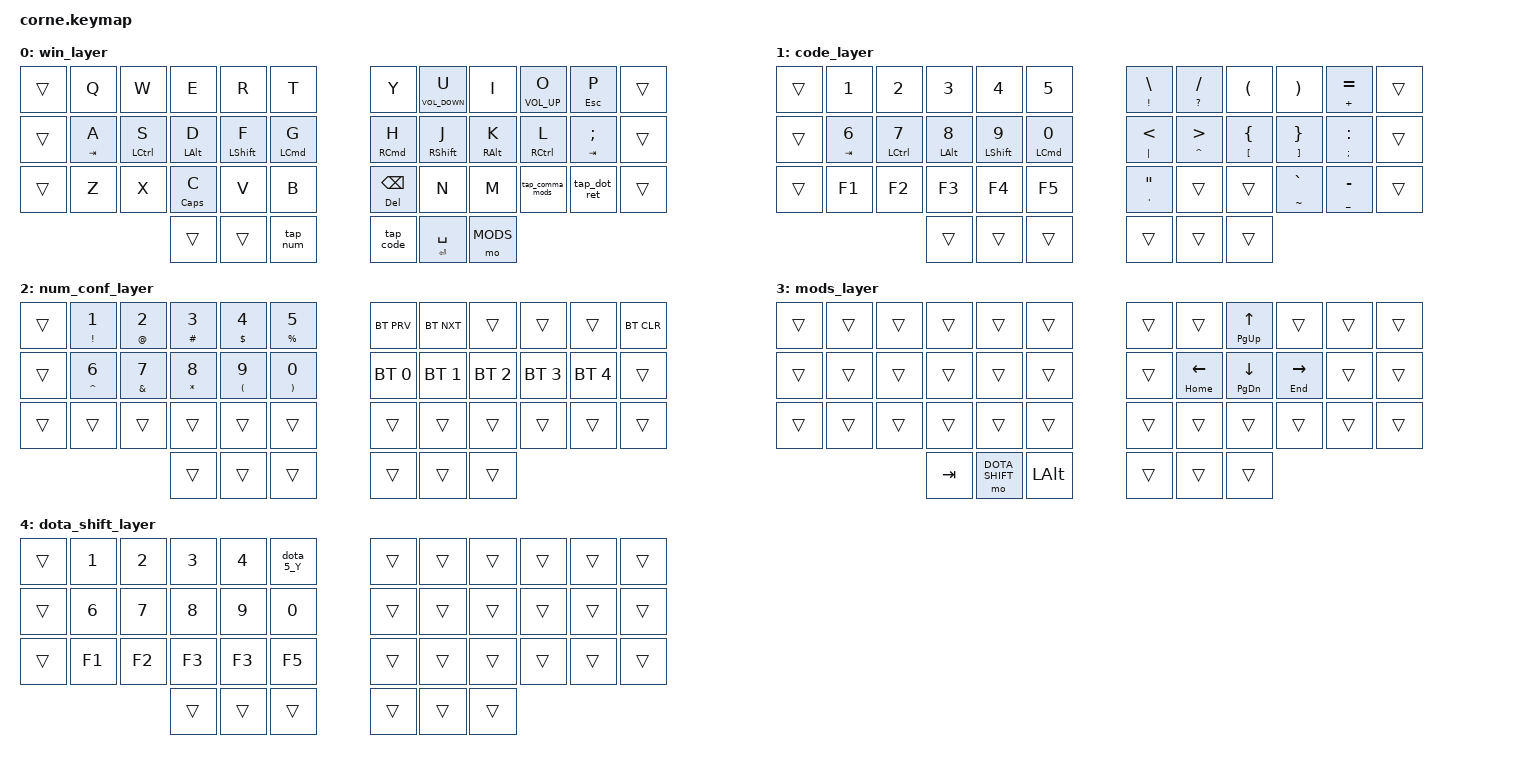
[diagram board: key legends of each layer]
/*
 * Copyright (c) 2020 The ZMK Contributors
 *
 * SPDX-License-Identifier: MIT
 */

#include <behaviors.dtsi>
#include <dt-bindings/zmk/keys.h>
#include <dt-bindings/zmk/bt.h>

#define DEFAULT        0
#define CODE           1
#define NUM_CONF       2
#define MODS           3
#define DOTA_SHIFT     4

/ {
        keymap {
                compatible = "zmk,keymap";

                win_layer {
                        bindings = <
                                   &trans   &kp Q             &kp W               &kp E                  &kp R                   &kp T                            &kp Y                    &rpi C_VOLUME_DOWN U          &kp I              &rpi C_VOLUME_UP O            &rpi ESCAPE P           &trans
                                   &trans   &rpi TAB A        &rpi LCTRL S        &rpi LALT D            &rpi_fast LSHIFT F      &rpi LCMD G                      &rpi RCMD H              &rpi_fast RSHIFT J            &rpi RALT K        &rpi RCTRL L                  &rpi_fast TAB SEMI      &trans
                                   &trans   &kp Z             &kp X               &rpi CAPSLOCK C        &kp V                   &kp B                            &del_rpi DEL BSPC        &kp N                         &kp M              &tap_comma_mods               &tap_dot_ret            &trans
                                                                                  &trans                 &trans                  &tap_num                         &tap_code                &rpi_fast RET SPACE           &mo MODS
                        >;
                };
                code_layer {
                        bindings = <
                                   &trans    &kp N1        &kp N2         &kp N3         &kp N4            &kp N5                         &rpi_fast EXCL BSLH      &rpi_fast QMARK SLASH    &kp LPAR               &kp RPAR                &rpi_fast PLUS EQUAL      &trans
                                   &trans    &rpi TAB N6   &rpi LCTRL N7  &rpi LALT N8   &rpi LSHIFT N9    &rpi LCMD N0                   &rpi_fast PIPE LT        &rpi_fast CARET GT       &rpi_fast LBKT LBRC    &rpi_fast RBKT RBRC     &rpi_fast SEMI COLON      &trans
                                   &trans    &kp F1        &kp F2         &kp F3         &kp F4            &kp F5                         &rpi_fast SQT DQT        &trans                   &trans                 &rpi_fast TILDE GRAVE   &rpi_fast UNDER MINUS     &trans
                                                                          &trans         &trans            &trans                         &trans                   &trans                   &trans
                        >;
                };

                num_conf_layer {
                        bindings = <
                                   &trans   &rpi_fast EXCL N1    &rpi_fast AT N2     &rpi_fast HASH N3      &rpi_fast DLLR N4     &rpi_fast PRCNT N5                              &bt BT_PRV      &bt BT_NXT      &trans           &trans            &trans            &bt BT_CLR
                                   &trans   &rpi_fast CARET N6   &rpi_fast AMPS N7   &rpi_fast ASTRK N8     &rpi_fast LPAR N9     &rpi_fast RPAR N0                               &bt BT_SEL 0    &bt BT_SEL 1    &bt BT_SEL 2     &bt BT_SEL 3      &bt BT_SEL 4      &trans 
                                   &trans   &trans               &trans              &trans                 &trans                &trans                                          &trans          &trans          &trans           &trans            &trans            &trans
                                                                                     &trans                 &trans                &trans                                          &trans          &trans          &trans
                        >;
                };

                mods_layer {
                        bindings = <
                                   &trans      &trans      &trans      &trans        &trans          &trans                               &trans       &trans                     &arrow_rpi PAGE_UP UP           &trans                     &trans            &trans
                                   &trans      &trans      &trans      &trans        &trans          &trans                               &trans       &arrow_rpi HOME LEFT       &arrow_rpi PAGE_DOWN DOWN       &arrow_rpi END RIGHT       &trans            &trans 
                                   &trans      &trans      &trans      &trans        &trans          &trans                               &trans       &trans                     &trans                          &trans                     &trans            &trans
                                                                       &kp TAB       &mo DOTA_SHIFT  &kp LALT                             &trans       &trans                     &trans
                        >;
                };

                dota_shift_layer {
                         bindings = <
                                   &trans    &kp N1       &kp N2       &kp N3       &kp N4       &dota_5_Y                           &trans     &trans    &trans    &trans   &trans     &trans
                                   &trans    &kp N6       &kp N7       &kp N8       &kp N9       &kp N0                              &trans     &trans    &trans    &trans   &trans     &trans
                                   &trans    &kp F1       &kp F2       &kp F3       &kp F3       &kp F5                              &trans     &trans    &trans    &trans   &trans     &trans
                                                                       &trans       &trans       &trans                              &trans     &trans    &trans
                                        >;
                                };
        };

        behaviors {
                rpi: rpi {
                    compatible = "zmk,behavior-hold-tap";
                    #binding-cells = <2>;
                    flavor = "tap-preferred";
                    tapping-term-ms = <350>;
                    quick-tap-ms = <350>;
                    require-prior-idle-ms = <200>;
                    bindings = <&kp>, <&kp>;
                };

                rpi_fast: rpi_fast {
                    compatible = "zmk,behavior-hold-tap";
                    #binding-cells = <2>;
                    flavor = "tap-preferred";
                    tapping-term-ms = <150>;
                    quick-tap-ms = <50>;
                    require-prior-idle-ms = <150>;
                    bindings = <&kp>, <&kp>;
                };

                rpi_mod_kp: rpi_mod_kp {
                    compatible = "zmk,behavior-hold-tap";
                    #binding-cells = <2>;
                    flavor = "tap-preferred";
                    tapping-term-ms = <150>;
                    quick-tap-ms = <50>;
                    require-prior-idle-ms = <120>;
                    bindings = <&tog>, <&kp>;
                };

                arrow_rpi: arrow_rpi_idle {
                    compatible = "zmk,behavior-hold-tap";
                    #binding-cells = <2>;
                    flavor = "tap-preferred";
                    tapping-term-ms = <500>;
                    quick-tap-ms = <200>;
                    require-prior-idle-ms = <150>;
                    bindings = <&kp>, <&kp>;
                };

                del_rpi: del_rpi_idle {
                    compatible = "zmk,behavior-hold-tap";
                    #binding-cells = <2>;
                    flavor = "tap-preferred";
                    tapping-term-ms = <500>;
                    quick-tap-ms = <200>;
                    require-prior-idle-ms = <150>;
                    bindings = <&kp>, <&kp>;
                };

                dota_5_Y: dota_5_Y {
                    compatible = "zmk,behavior-tap-dance";
                    #binding-cells = <0>;
                    tapping-term-ms = <200>;
                    bindings = <&kp N5>, <&kp Y>;
                };

                tap_num: tap_num {
                     compatible = "zmk,behavior-tap-dance";
                    #binding-cells = <0>;
                    tapping-term-ms = <200>;
                    bindings = <&mo NUM_CONF>, <&tog NUM_CONF>;
                };

                tap_code: tap_code {
                     compatible = "zmk,behavior-tap-dance";
                    #binding-cells = <0>;
                    tapping-term-ms = <200>;
                    bindings = <&mo CODE>, <&tog CODE>;
                };

                tap_ret_space: tap_ret_space {
                     compatible = "zmk,behavior-tap-dance";
                    #binding-cells = <0>;
                    tapping-term-ms = <350>;
                    bindings = <&kp SPACE>, <&kp RET>;
                };

                tap_comma_mods: tap_comma_mods {
                     compatible = "zmk,behavior-tap-dance";
                    #binding-cells = <0>;
                    tapping-term-ms = <350>;
                    bindings = <&kp COMMA>, <&tog MODS>;
                };

                tap_dot_ret: tap_dot_ret {
                     compatible = "zmk,behavior-tap-dance";
                    #binding-cells = <0>;
                    tapping-term-ms = <250>;
                    bindings = <&kp DOT>, <&kp RET>;
                };

        };

};
